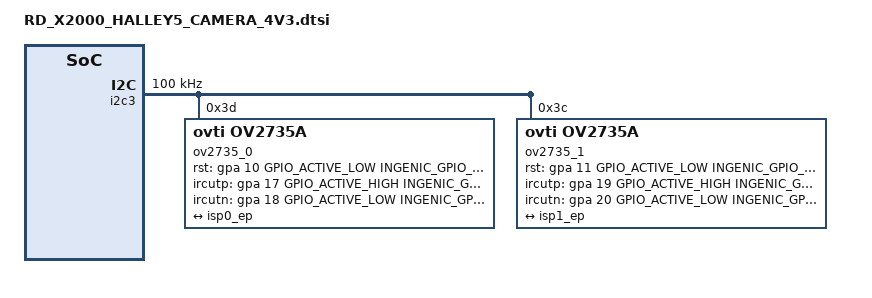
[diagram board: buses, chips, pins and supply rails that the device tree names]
&i2c3 {
	status = "okay";
	clock-frequency = <100000>;
	timeout = <1000>;
	pinctrl-names = "default";
	pinctrl-0 = <&i2c3_pa>;

	ov2735_0:ov2735@0x3d {
		status = "ok";
		compatible = "ovti,ov2735a";
		reg = <0x3d>;
		pinctrl-names = "default";
		pinctrl-0 = <&cim1_vic_mclk_pc>;

		ingenic,mclk = <1>;
		ingenic,rst-gpio = <&gpa 10 GPIO_ACTIVE_LOW INGENIC_GPIO_NOBIAS>;
		ingenic,ircutp-gpio = <&gpa 17 GPIO_ACTIVE_HIGH INGENIC_GPIO_NOBIAS>;
		ingenic,ircutn-gpio = <&gpa 18 GPIO_ACTIVE_LOW INGENIC_GPIO_NOBIAS>;

		port {
			ov2735_ep0:endpoint {
				remote-endpoint = <&isp0_ep>;
			};
		};
	};

	ov2735_1:ov2735@0x3c {
		status = "ok";
		compatible = "ovti,ov2735a";
		reg = <0x3c>;
		pinctrl-names = "default";

		ingenic,mclk = <1>;
		ingenic,rst-gpio = <&gpa 11 GPIO_ACTIVE_LOW INGENIC_GPIO_NOBIAS>;
		ingenic,ircutp-gpio = <&gpa 19 GPIO_ACTIVE_HIGH INGENIC_GPIO_NOBIAS>;
		ingenic,ircutn-gpio = <&gpa 20 GPIO_ACTIVE_LOW INGENIC_GPIO_NOBIAS>;

		port {
			ov2735_ep1:endpoint {
				remote-endpoint = <&isp1_ep>;
			};
		};
	};
};


&isp0_ep {
	remote-endpoint = <&ov2735_ep0>;
	data-lanes = <0 1>;
	clk-lanes = <2>;
};

&isp1_ep {
	remote-endpoint = <&ov2735_ep1>;
	data-lanes = <3 4>;
	clk-lanes = <5>;
};

